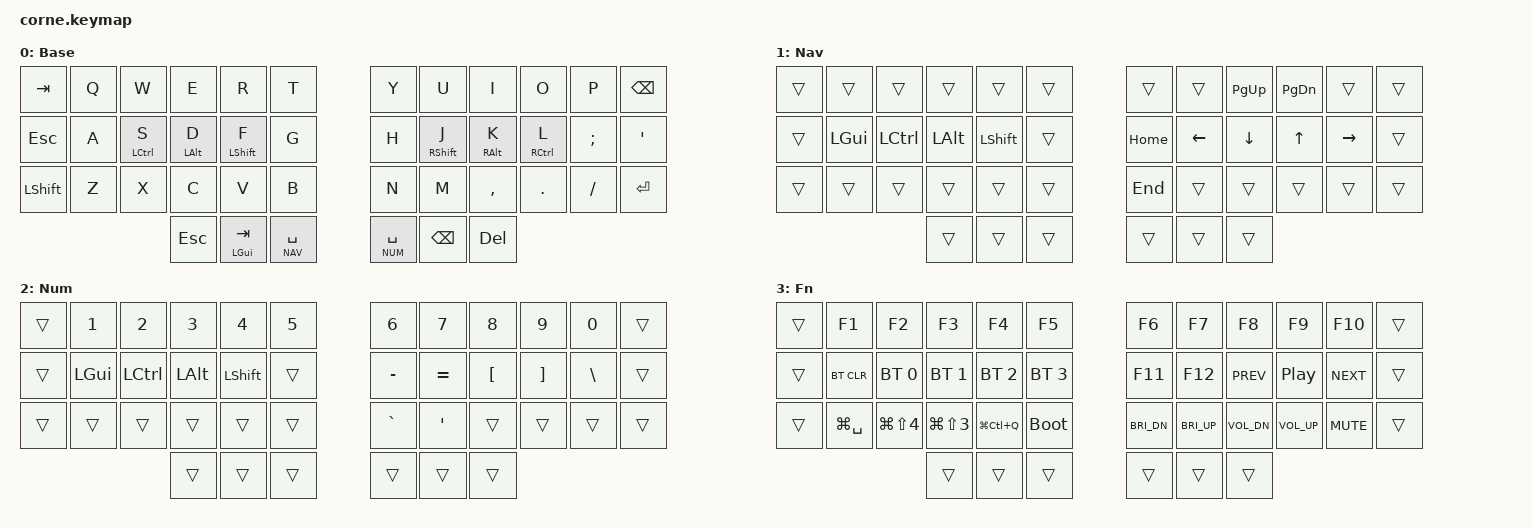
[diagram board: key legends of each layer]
/*
 * Corne 42-key (stock 3x6+3) — macOS-style ZMK keymap
 * ------------------------------------------------------------------
 *  • Cmd (GUI) on the LEFT-MIDDLE thumb (hold) / Tab (tap)
 *  • Positional home-row mods: Ctrl / Option / Shift (Cmd is on thumb)
 *  • Outer pinky columns: Tab/Esc/Shift  and  Bspc/'/Enter
 *  • Layers: Base · Nav · Num/Sym · Fn (Fn = hold both inner thumbs)
 *  • macOS extras on Fn: Spotlight, screenshots, lock, media, brightness
 * ------------------------------------------------------------------
 *
 * Key-position map (used by the home-row-mod trigger lists):
 *
 *    0  1  2  3  4  5      6  7  8  9 10 11
 *   12 13 14 15 16 17     18 19 20 21 22 23
 *   24 25 26 27 28 29     30 31 32 33 34 35
 *               36 37 38  39 40 41
 */

#include <behaviors.dtsi>
#include <dt-bindings/zmk/bt.h>
#include <dt-bindings/zmk/keys.h>

#define DEF 0
#define NAV 1
#define NUM 2
#define FN  3

/ {
    behaviors {
        // Home-row mods, LEFT hand. Only fire when chorded with a
        // right-hand key or any thumb -> almost no same-hand misfires.

        hml: homerow_mod_left {
            compatible = "zmk,behavior-hold-tap";
            #binding-cells = <2>;
            flavor = "balanced";
            tapping-term-ms = <280>;
            quick-tap-ms = <175>;
            require-prior-idle-ms = <150>;
            bindings = <&kp>, <&kp>;

            hold-trigger-key-positions = <6 7 8 9 10 11 18 19 20 21 22 23 30 31 32 33 34 35 36 37 38 39 40 41>;
            hold-trigger-on-release;
        };

        // Home-row mods, RIGHT hand.

        hmr: homerow_mod_right {
            compatible = "zmk,behavior-hold-tap";
            #binding-cells = <2>;
            flavor = "balanced";
            tapping-term-ms = <280>;
            quick-tap-ms = <175>;
            require-prior-idle-ms = <150>;
            bindings = <&kp>, <&kp>;

            hold-trigger-key-positions = <0 1 2 3 4 5 12 13 14 15 16 17 24 25 26 27 28 29 36 37 38 39 40 41>;
            hold-trigger-on-release;
        };
    };

    // Hold NAV + NUM (both inner thumbs) to reach the FN layer.

    conditional_layers {
        compatible = "zmk,conditional-layers";

        tri_layer {
            if-layers = <NAV NUM>;
            then-layer = <FN>;
        };
    };

    keymap {
        compatible = "zmk,keymap";

        // ───────────────────────────────── BASE ─────────────────────────────────
        // Home-row mods:  S=Ctrl  D=Opt  F=Shift   |   J=Shift  K=Opt  L=Ctrl
        // Thumbs:  Esc · Cmd/Tab · Nav/Space  |  Num/Enter · Bspc · Del

        default_layer {
            display-name = "Base";
            bindings = <
&kp TAB    &kp Q  &kp W        &kp E        &kp R         &kp T            &kp Y          &kp U         &kp I        &kp O        &kp P     &kp BSPC
&kp ESC    &kp A  &hml LCTL S  &hml LALT D  &hml LSHFT F  &kp G            &kp H          &hmr RSHFT J  &hmr RALT K  &hmr RCTL L  &kp SEMI  &kp SQT
&kp LSHFT  &kp Z  &kp X        &kp C        &kp V         &kp B            &kp N          &kp M         &kp COMMA    &kp DOT      &kp FSLH  &kp RET
                               &kp ESC      &mt LGUI TAB  &lt NAV SPACE    &lt NUM SPACE  &kp BSPC      &kp DEL
            >;
        };

        // ────────────────────────────────── NAV ─────────────────────────────────
        // Hold left-inner thumb. Left hand = modifiers (for select /
        // word-jump / line-jump), right hand = arrows + page nav.
        //   Opt+arrow = word    Cmd+arrow = line/doc    Shift+arrow = select

        nav_layer {
            display-name = "Nav";
            bindings = <
&trans  &trans    &trans    &trans    &trans     &trans    &trans    &trans    &kp PG_UP  &kp PG_DN  &trans     &trans
&trans  &kp LGUI  &kp LCTL  &kp LALT  &kp LSHFT  &trans    &kp HOME  &kp LEFT  &kp DOWN   &kp UP     &kp RIGHT  &trans
&trans  &trans    &trans    &trans    &trans     &trans    &kp END   &trans    &trans     &trans     &trans     &trans
                            &trans    &trans     &trans    &trans    &trans    &trans
            >;
        };

        // ───────────────────────────────── NUM/SYM ──────────────────────────────
        // Hold right-inner thumb. Top row = numbers. Left hand keeps the
        // mods, so Shift+number gives ! @ # $ % ^ & * ( ) and Shift+sym
        // gives _ + { } | ~ "  etc.

        num_layer {
            display-name = "Num";
            bindings = <
&trans  &kp N1    &kp N2    &kp N3    &kp N4     &kp N5    &kp N6     &kp N7     &kp N8    &kp N9    &kp N0    &trans
&trans  &kp LGUI  &kp LCTL  &kp LALT  &kp LSHFT  &trans    &kp MINUS  &kp EQUAL  &kp LBKT  &kp RBKT  &kp BSLH  &trans
&trans  &trans    &trans    &trans    &trans     &trans    &kp GRAVE  &kp SQT    &trans    &trans    &trans    &trans
                            &trans    &trans     &trans    &trans     &trans     &trans
            >;
        };

        // ────────────────────────────────── FN ──────────────────────────────────
        // Reached by holding both inner thumbs (NAV + NUM).
        // F-keys, Bluetooth, media, brightness/volume, macOS shortcuts.

        fn_layer {
            display-name = "Fn";
            bindings = <
&trans  &kp F1         &kp F2          &kp F3          &kp F4         &kp F5          &kp F6        &kp F7        &kp F8        &kp F9        &kp F10     &trans
&trans  &bt BT_CLR     &bt BT_SEL 0    &bt BT_SEL 1    &bt BT_SEL 2   &bt BT_SEL 3    &kp F11       &kp F12       &kp C_PREV    &kp C_PP      &kp C_NEXT  &trans
&trans  &kp LG(SPACE)  &kp LG(LS(N4))  &kp LG(LS(N3))  &kp LG(LC(Q))  &bootloader     &kp C_BRI_DN  &kp C_BRI_UP  &kp C_VOL_DN  &kp C_VOL_UP  &kp C_MUTE  &trans
                                       &trans          &trans         &trans          &trans        &trans        &trans
            >;
        };
    };
};
